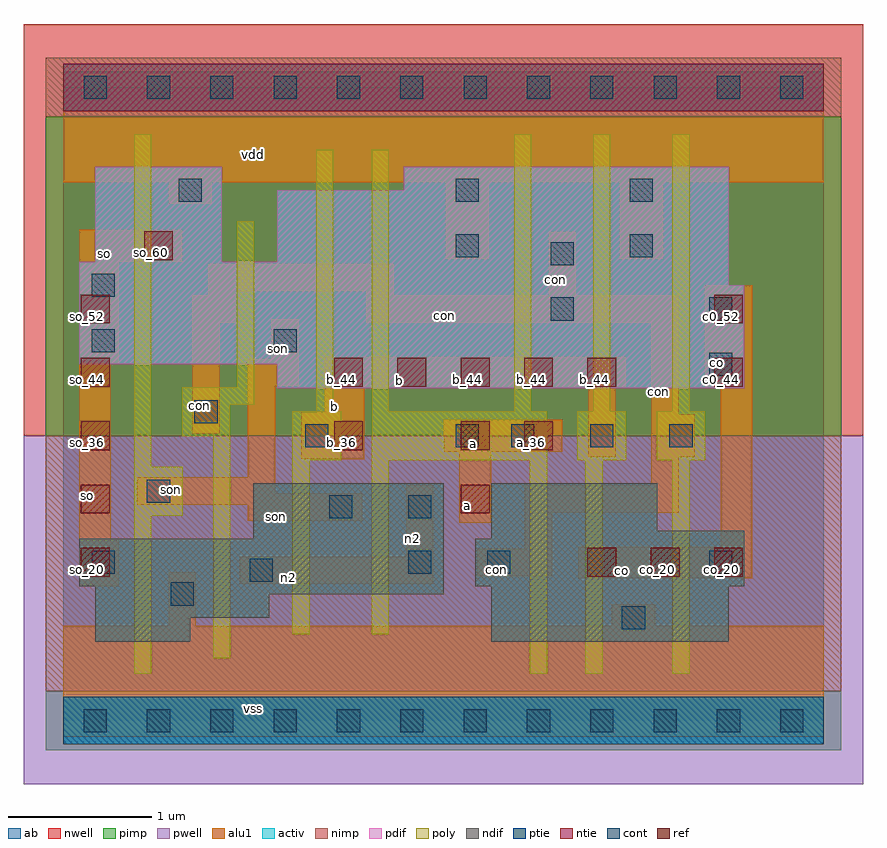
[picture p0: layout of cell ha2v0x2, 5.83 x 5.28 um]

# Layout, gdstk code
import gdstk
lib = gdstk.Library(unit=1e-6, precision=2.5e-09)
def R(c, l, rs):  # rectangles x0, y0, x1, y1
    for r in rs: c.add(gdstk.rectangle(r[:2], r[2:], *l))
def A(c, l, x, y, w, h, nx, ny, dx, dy):  # array of equal rectangles
    R(c, l, [(x+i*dx, y+j*dy, x+i*dx+w, y+j*dy+h) for i in range(nx) for j in range(ny)])
ndif = (3, 0)
pdif = (4, 0)
ntie = (5, 0)
ptie = (6, 0)
ref = (24, 0)
cont = (25, 0)
pwell = (41, 0)
nwell = (42, 0)
activ = (43, 0)
pimp = (44, 0)
nimp = (45, 0)
poly = (46, 0)
alu1 = (49, 0)
ab = (63, 0)

ha2v0x2 = lib.new_cell('ha2v0x2')
R(ha2v0x2, ndif, [(0.22,0.55,0.88,0.715), (2.97,0.55,4.62,0.935), (0.22,0.715,1.43,0.88), (0.22,0.88,2.64,0.935), (0.11,0.935,2.64,1.265), (2.86,0.935,4.73,1.265), (1.32,1.265,2.64,1.65), (2.97,1.265,4.73,1.32), (2.97,1.32,4.125,1.65)])
R(ha2v0x2, pdif, [(1.485,2.31,4.73,2.475), (0.11,2.475,4.73,3.025), (0.11,3.025,4.62,3.19), (0.22,3.19,1.1,3.85), (1.485,3.19,4.62,3.685), (2.365,3.685,4.62,3.85)])
R(ha2v0x2, ntie, [(0,4.235,5.28,4.565)])
R(ha2v0x2, ptie, [(0,-0.165,5.28,0.165)])
A(ha2v0x2, ref, 0.12, 1, 0.2, 0.2, 1, 5, 0, 0.44)
A(ha2v0x2, ref, 3.64, 1, 0.2, 0.2, 3, 1, 0.44, 0)
A(ha2v0x2, ref, 1.88, 2.32, 0.2, 0.2, 5, 1, 0.44, 0)
R(ha2v0x2, ref, [(2.76,1.44,2.96,1.64), (1.88,1.88,2.08,2.08), (2.76,1.88,2.96,2.08), (3.2,1.88,3.4,2.08), (4.52,2.32,4.72,2.52), (4.52,2.76,4.72,2.96), (0.56,3.2,0.76,3.4)])
A(ha2v0x2, cont, 0.14, -0.08, 0.16, 0.16, 12, 2, 0.44, 4.4)
A(ha2v0x2, cont, 3.11, 1.9, 0.16, 0.16, 3, 1, 0.55, 0)
R(ha2v0x2, cont, [(3.88,0.635,4.04,0.795), (0.745,0.8,0.905,0.96), (1.295,0.965,1.455,1.125), (0.195,1.02,0.355,1.18), (2.395,1.02,2.555,1.18), (2.945,1.02,3.105,1.18), (4.485,1.02,4.645,1.18), (1.845,1.405,2.005,1.565), (2.395,1.405,2.555,1.565), (0.58,1.515,0.74,1.675), (1.68,1.9,1.84,2.06), (2.725,1.9,2.885,2.06), (0.91,2.065,1.07,2.225), (4.485,2.395,4.645,2.555), (0.195,2.56,0.355,2.72), (1.46,2.56,1.62,2.72), (3.385,2.78,3.545,2.94), (4.485,2.78,4.645,2.94), (0.195,2.945,0.355,3.105), (3.385,3.165,3.545,3.325), (2.725,3.22,2.885,3.38), (3.935,3.22,4.095,3.38), (0.8,3.605,0.96,3.765), (2.725,3.605,2.885,3.765), (3.935,3.605,4.095,3.765)])
R(ha2v0x2, pwell, [(-0.275,-0.44,5.555,1.98)])
R(ha2v0x2, nwell, [(-0.275,1.98,5.555,4.84)])
R(ha2v0x2, activ, [(0,-0.165,5.28,0.165), (0.22,0.55,0.88,0.715), (2.97,0.55,4.62,0.935), (0.22,0.715,1.43,0.88), (0.22,0.88,2.64,0.935), (0.11,0.935,2.64,1.265), (2.86,0.935,4.73,1.265), (1.32,1.265,2.64,1.65), (2.97,1.265,4.73,1.32), (2.97,1.32,4.125,1.65), (1.485,2.31,4.73,2.475), (0.11,2.475,4.73,3.025), (0.11,3.025,4.62,3.19), (0.22,3.19,1.1,3.85), (1.485,3.19,4.62,3.685), (2.365,3.685,4.62,3.85), (0,4.235,5.28,4.565)])
R(ha2v0x2, pimp, [(-0.125,-0.205,5.405,0.205), (-0.125,1.98,5.405,4.195)])
R(ha2v0x2, nimp, [(-0.125,0.205,5.405,1.98), (-0.125,4.195,5.405,4.605)])
A(ha2v0x2, poly, 3.13, 2.15, 0.12, 1.925, 3, 1, 0.55, 0)
R(ha2v0x2, poly, [(0.49,0.325,0.61,1.425), (3.24,0.325,3.36,1.81), (3.625,0.325,3.745,1.81), (4.23,0.325,4.35,1.81), (1.04,0.435,1.16,1.975), (1.59,0.6,1.71,1.81), (2.14,0.6,2.26,1.81), (0.49,1.425,0.83,1.765), (0.49,1.765,0.61,4.075), (1.59,1.81,1.93,2.15), (2.14,1.81,3.36,2.15), (3.57,1.81,3.91,2.15), (4.12,1.81,4.46,2.15), (0.82,1.975,1.16,2.195), (1.755,2.15,1.875,3.965), (2.14,2.15,2.26,3.965), (0.82,2.195,1.325,2.315), (1.205,2.315,1.325,3.47)])
R(ha2v0x2, alu1, [(0,-0.11,5.28,0.66), (0.73,0.66,0.92,1.03), (3.81,0.66,4.11,0.81), (0.11,0.935,0.385,1.265), (1.225,0.95,2.57,1.14), (3.575,0.99,4.785,1.21), (2.875,1.005,3.395,1.195), (2.38,1.14,2.57,1.635), (3.205,1.195,3.395,1.445), (4.565,1.21,4.785,2.31), (0.11,1.265,0.33,2.475), (2.75,1.375,2.97,1.87), (1.28,1.39,2.075,1.5), (3.205,1.445,4.275,1.635), (0.51,1.5,2.075,1.58), (0.51,1.58,1.47,1.69), (4.085,1.635,4.275,1.83), (1.28,1.69,1.47,2.325), (1.65,1.815,2.09,2.145), (3.645,1.83,3.835,2.31), (4.085,1.83,4.385,2.13), (2.64,1.87,3.465,2.09), (0.895,1.995,1.085,2.765), (4.085,2.13,4.275,2.765), (1.815,2.145,2.09,2.31), (1.815,2.31,3.905,2.53), (4.455,2.31,4.785,3.025), (1.28,2.325,1.635,2.515), (0.11,2.475,0.385,3.19), (1.445,2.515,1.635,2.79), (0.895,2.765,1.195,2.955), (2.105,2.765,4.275,2.955), (1.005,2.955,1.195,2.985), (2.105,2.955,2.295,2.985), (3.37,2.955,3.56,3.395), (1.005,2.985,2.295,3.175), (0.11,3.19,0.825,3.41), (2.655,3.205,2.955,3.74), (3.865,3.205,4.165,3.74), (0.73,3.59,1.03,3.74), (0,3.74,5.28,4.51)])
R(ha2v0x2, ab, [(0,0,5.28,4.4)])
ha2v0x2.add(gdstk.Label('vss', (1.32,0.0825), layer=49, texttype=0))
ha2v0x2.add(gdstk.Label('co', (3.8775,1.045), layer=49, texttype=0))
ha2v0x2.add(gdstk.Label('con', (3.005,1.0525), layer=49, texttype=0))
ha2v0x2.add(gdstk.Label('n2', (1.56,0.9975), layer=49, texttype=0))
ha2v0x2.add(gdstk.Label('co', (4.5375,2.4875), layer=49, texttype=0))
ha2v0x2.add(gdstk.Label('con', (4.1325,2.2875), layer=49, texttype=0))
ha2v0x2.add(gdstk.Label('a', (2.805,1.4975), layer=49, texttype=0))
ha2v0x2.add(gdstk.Label('n2', (2.4275,1.2625), layer=49, texttype=0))
ha2v0x2.add(gdstk.Label('son', (1.4775,1.4175), layer=49, texttype=0))
ha2v0x2.add(gdstk.Label('son', (0.75,1.6075), layer=49, texttype=0))
ha2v0x2.add(gdstk.Label('a', (2.845,1.925), layer=49, texttype=0))
ha2v0x2.add(gdstk.Label('b', (1.8825,2.185), layer=49, texttype=0))
ha2v0x2.add(gdstk.Label('b', (2.3375,2.365), layer=49, texttype=0))
ha2v0x2.add(gdstk.Label('con', (2.6475,2.8125), layer=49, texttype=0))
ha2v0x2.add(gdstk.Label('son', (1.4925,2.5825), layer=49, texttype=0))
ha2v0x2.add(gdstk.Label('con', (0.9425,2.1875), layer=49, texttype=0))
ha2v0x2.add(gdstk.Label('so', (0.165,1.5675), layer=49, texttype=0))
ha2v0x2.add(gdstk.Label('con', (3.4175,3.065), layer=49, texttype=0))
ha2v0x2.add(gdstk.Label('so', (0.2875,3.245), layer=49, texttype=0))
ha2v0x2.add(gdstk.Label('vdd', (1.32,3.9325), layer=49, texttype=0))
ha2v0x2.add(gdstk.Label('co_20', (4.57,1.05), layer=24, texttype=0))
ha2v0x2.add(gdstk.Label('co_20', (4.13,1.05), layer=24, texttype=0))
ha2v0x2.add(gdstk.Label('a_28', (2.81,1.49), layer=24, texttype=0))
ha2v0x2.add(gdstk.Label('b_36', (1.93,1.93), layer=24, texttype=0))
ha2v0x2.add(gdstk.Label('b_44', (2.37,2.37), layer=24, texttype=0))
ha2v0x2.add(gdstk.Label('b_44', (3.69,2.37), layer=24, texttype=0))
ha2v0x2.add(gdstk.Label('b_44', (3.25,2.37), layer=24, texttype=0))
ha2v0x2.add(gdstk.Label('b_44', (2.81,2.37), layer=24, texttype=0))
ha2v0x2.add(gdstk.Label('a_36', (3.25,1.93), layer=24, texttype=0))
ha2v0x2.add(gdstk.Label('a_36', (2.81,1.93), layer=24, texttype=0))
ha2v0x2.add(gdstk.Label('so_52', (0.17,2.81), layer=24, texttype=0))
ha2v0x2.add(gdstk.Label('so_44', (0.17,2.37), layer=24, texttype=0))
ha2v0x2.add(gdstk.Label('so_36', (0.17,1.93), layer=24, texttype=0))
ha2v0x2.add(gdstk.Label('so_28', (0.17,1.49), layer=24, texttype=0))
ha2v0x2.add(gdstk.Label('c0_44', (4.57,2.37), layer=24, texttype=0))
ha2v0x2.add(gdstk.Label('c0_52', (4.57,2.81), layer=24, texttype=0))
ha2v0x2.add(gdstk.Label('so_20', (0.17,1.05), layer=24, texttype=0))
ha2v0x2.add(gdstk.Label('so_60', (0.61,3.25), layer=24, texttype=0))
ha2v0x2.add(gdstk.Label('b_44', (1.93,2.37), layer=24, texttype=0))
ha2v0x2.add(gdstk.Label('co_20', (3.69,1.05), layer=24, texttype=0))

lib.write_gds('ha2v0x2.gds')
